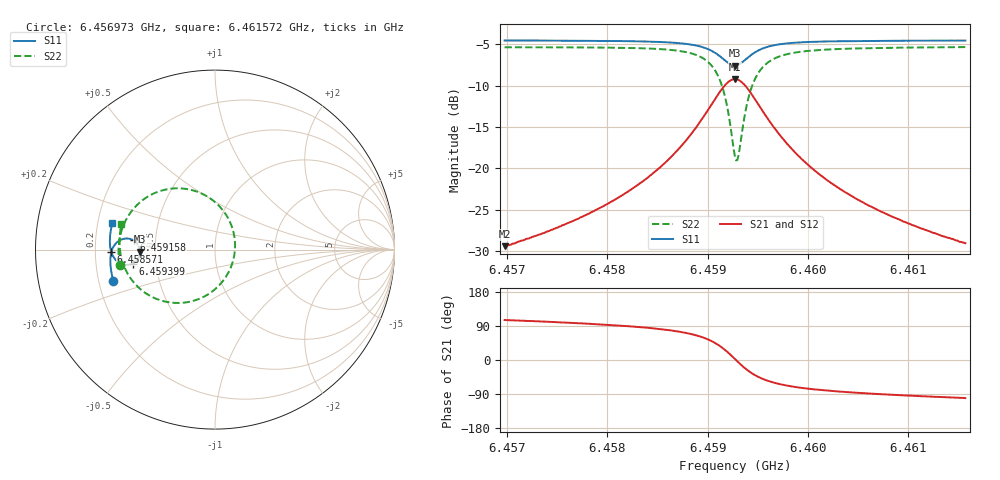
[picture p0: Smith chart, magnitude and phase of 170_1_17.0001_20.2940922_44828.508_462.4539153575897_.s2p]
#  HZ  S  RI  R  50.00
! Rohde & Schwarz Vector Network Analyzer
! Rohde-Schwarz,ZNB20-2Port,1311601062101988,3.16
! Created: UTC 3/20/2024, 10:59:42 PM
! freq[Hz]  re:S11  im:S11  re:S21  im:S21  re:S12  im:S12  re:S22  im:S22
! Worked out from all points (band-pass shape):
!   401 points, 6.456973 GHz to 6.461572 GHz, reference 50 ohm
!   highest |S21| = -9.23 dB at 6.459272 GHz (marker M1); lowest = -29.4 dB at 6.456973 GHz (marker M2)
!   |S21| within 3 dB of the highest: 6.459042 GHz to 6.459502 GHz (460 kHz wide, 0.00712 % of centre)
!   lowest |S11| = -7.6 dB at 6.459272 GHz (marker M3), VSWR 2.43, Z = 20.5 - j0.593 ohm
!   |S11| at or under -10 dB: nowhere
!   |S22| runs from -19.1 to -5.4 dB; largest |S21 - S12| = 0.013
!   S11 on the Smith chart (normalised r, x): 6.456973 GHz: 0.26, -0.14; 6.458571 GHz: 0.27, -0.01; 6.459158 GHz: 0.37, +0.05; 6.459399 GHz: 0.37, -0.07; 6.461572 GHz: 0.26, +0.12
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6.4569731e9  -0.566 -0.1738  -0.00907 0.0325  -0.00729 0.0324  -0.5314 -0.0869
6.4577434e9  -0.5803 -0.1065  -0.00587 0.0503  -0.00328 0.0498  -0.5371 0.00326
6.4581343e9  -0.5833 -0.0675  -0.000628 0.0679  0.00252 0.0666  -0.5307 0.0642
6.4585137e9  -0.5796 -0.0225  0.0139 0.0988  0.0178 0.0962  -0.5042 0.1483
6.4585712e9  -0.5778 -0.0146  0.0183 0.1058  0.0223 0.1027  -0.4961 0.1649
6.4587781e9  -0.5648 0.0175  0.0458 0.1383  0.0497 0.1335  -0.4449 0.2378
6.4589276e9  -0.5422 0.0439  0.0909 0.1691  0.0942 0.1624  -0.3614 0.3027
6.4590655e9  -0.4982 0.0615  0.1783 0.1858  0.1793 0.1784  -0.2021 0.3416
6.4591575e9  -0.4534 0.0514  0.2683 0.1545  0.2687 0.1486  -0.0355 0.2913
6.4592265e9  -0.4243 0.0192  0.329 0.0825  0.3311 0.0772  0.0797 0.1618
6.4592725e9  -0.4176 -0.0119  0.3453 0.0146  0.3489 0.00769  0.1117 0.035
6.459284e9  -0.418 -0.02  0.3451 -0.00323  0.349 -0.0107  0.1114 0.00159
6.459307e9  -0.4215 -0.0356  0.3395 -0.0378  0.3434 -0.0469  0.1003 -0.0641
6.459353e9  -0.4371 -0.0618  0.3108 -0.0977  0.3131 -0.1094  0.0425 -0.1769
6.4593989e9  -0.4592 -0.0781  0.269 -0.1387  0.2681 -0.1517  -0.0419 -0.2515
6.4594909e9  -0.5026 -0.085  0.1844 -0.1697  0.1782 -0.1812  -0.2102 -0.2975
6.4596404e9  -0.5464 -0.0645  0.0966 -0.1562  0.0883 -0.1622  -0.3772 -0.2486
6.4598013e9  -0.568 -0.0368  0.0519 -0.1286  0.0443 -0.1312  -0.4577 -0.1769
6.4600428e9  -0.5809 -0.00128  0.0226 -0.097  0.0168 -0.0977  -0.5058 -0.0951
6.4603762e9  -0.5855 0.0384  0.00687 -0.0711  0.00276 -0.0705  -0.5272 -0.0182
6.460813e9  -0.5838 0.0824  -0.00128 -0.0518  -0.00409 -0.051  -0.5321 0.052
6.4615718e9  -0.5719 0.1495  -0.0064 -0.0346  -0.00808 -0.0337  -0.5211 0.1416
